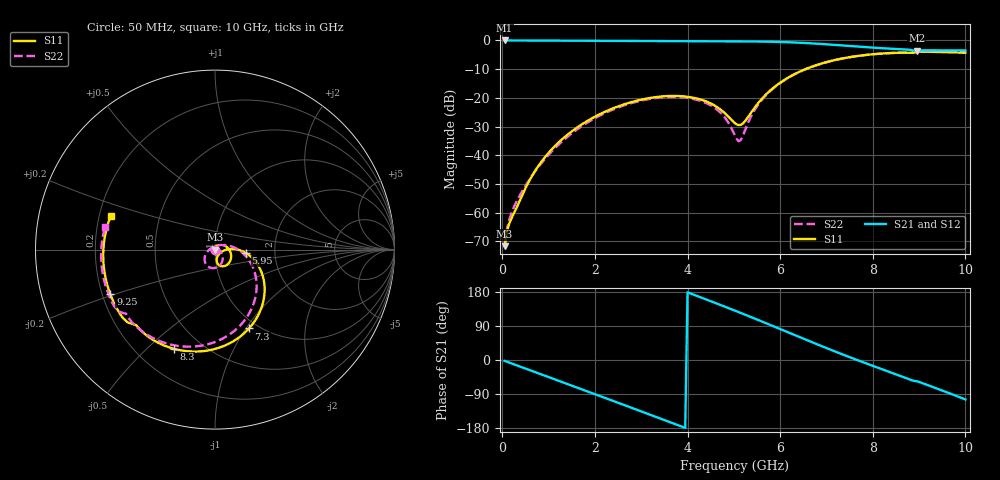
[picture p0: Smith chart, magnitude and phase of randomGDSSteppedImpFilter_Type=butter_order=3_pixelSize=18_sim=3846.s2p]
! freq	dB(S11)	phase(S11)	dB(S12)	phase(S12)
!  dB(S21)	phase(S21)	dB(S22)	phase(S22)
!S-par simulation data
#  GHz  S  DB  R 50
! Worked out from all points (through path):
!   200 points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, 50 MHz to 10 GHz, reference 50 ohm
!   highest |S21| = 0.00 dB at 50 MHz (marker M1); lowest = -3.6 dB at 8.95 GHz (marker M2)
!   group delay of S21, straight-line fit = 131 ps
!   lowest |S11| = -71.6 dB at 50 MHz (marker M3), VSWR 1.00, Z = 50 + j0.0247 ohm
!   |S11| at or under -10 dB: start of sweep to 6.546 GHz
!   |S22| runs from -71.4 to -3.8 dB; largest |S21 - S12| = 0
!   S11 on the Smith chart (normalised r, x): 50 MHz: 1.00, +0.00; 5.95 GHz: 1.41, -0.05; 7.3 GHz: 0.91, -1.03; 8.3 GHz: 0.35, -0.61; 9.25 GHz: 0.23, -0.19; 10 GHz: 0.25, +0.15
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0.05  -71.64 70.6  -0.00 -2.3  -0.00 -2.3  -71.38 62.6
0.1  -66.46 75.0  -0.01 -4.6  -0.01 -4.6  -65.73 57.9
0.2  -61.89 81.9  -0.02 -9.1  -0.02 -9.1  -60.03 43.2
0.55  -49.89 106.4  -0.03 -24.8  -0.03 -24.8  -49.32 17.7
1.05  -38.24 87.4  -0.05 -47.3  -0.05 -47.3  -38.95 1.1
1.75  -28.90 48.4  -0.09 -78.9  -0.09 -78.9  -29.49 -22.2
2.55  -22.68 5.7  -0.15 -115.1  -0.15 -115.1  -23.06 -52.8
3.4  -19.57 -35.9  -0.24 -153.9  -0.24 -153.9  -19.89 -88.1
3.95  -19.53 -60.3  -0.28 -179.1  -0.28 -179.1  -19.90 -112.9
4.45  -21.56 -78.1  -0.30 157.6  -0.30 157.6  -22.17 -138.4
4.8  -25.24 -80.4  -0.31 141.0  -0.31 141.0  -26.74 -163.7
5.05  -29.13 -57.0  -0.32 129.0  -0.32 129.0  -34.03 145.7
5.15  -29.40 -36.0  -0.33 124.2  -0.33 124.2  -34.71 93.9
5.5  -22.33 1.8  -0.37 106.9  -0.37 106.9  -22.95 19.7
5.95  -15.30 -6.1  -0.51 84.3  -0.51 84.3  -15.44 -10.4
6.7  -9.05 -38.4  -1.03 46.3  -1.03 46.3  -9.10 -50.3
7.3  -6.41 -66.6  -1.69 17.0  -1.69 17.0  -6.44 -79.4
8.3  -4.46 -112.6  -2.80 -28.7  -2.80 -28.7  -4.45 -123.4
8.35  -4.42 -114.9  -2.85 -30.9  -2.85 -30.9  -4.40 -125.4
8.95  -3.96 -140.3  -3.61 -56.2  -3.61 -56.2  -3.91 -147.3
9.25  -3.96 -156.9  -3.43 -69.2  -3.43 -69.2  -3.85 -161.3
10  -4.28 162.2  -3.48 -104.1  -3.48 -104.1  -4.07 168.3
